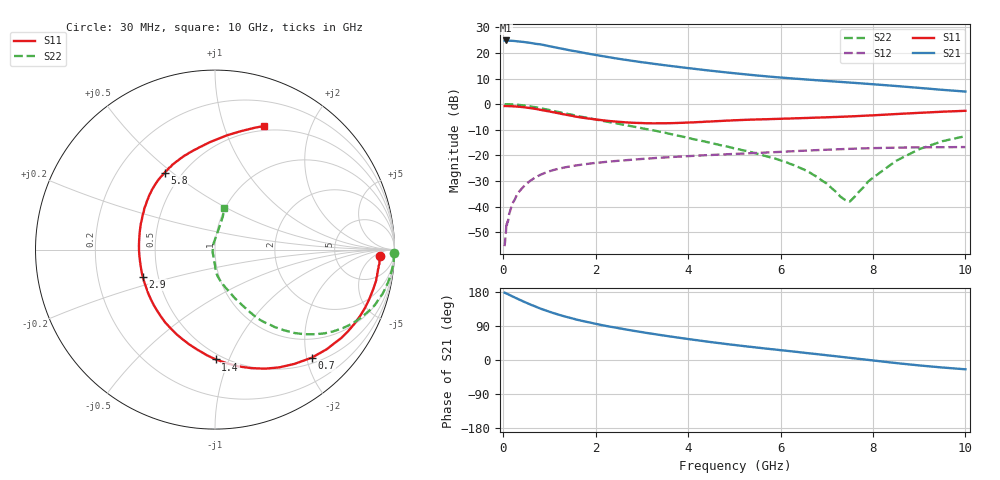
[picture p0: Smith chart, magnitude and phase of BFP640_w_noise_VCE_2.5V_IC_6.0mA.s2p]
! (c) 2013  Infineon Technologies AG, Munich
! Infineon Technologies  Discrete & RF Semiconductors
! BFP640
! VCE =  2.5 V,  IC =  6.0 mA
! Common Emitter S-Parameters:  Apr 2013
# GHz  S  MA  R  50
!  f  S11  S21  S12  S22
! GHz  MAG  ANG  MAG  ANG  MAG  ANG  MAG  ANG
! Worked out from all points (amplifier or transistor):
!   99 points, 30 MHz to 10 GHz, reference 50 ohm
!   highest |S21| = 24.8 dB at 50 MHz (marker M1)
!   |S21| within 3 dB of that: start of sweep to 1.206 GHz
!   unconditionally stable (mu >= 1): 4.676 GHz to end of sweep
!   at 350 MHz: K = 0.07, MSG = 29.2 dB, |S12| = -34.0 dB
!   at 3.5 GHz: K = 0.87, MSG = 18.0 dB, |S12| = -20.8 dB
!   at 10 GHz: K = 1.13, MAG = 8.6 dB, |S12| = -16.7 dB
!   lowest NFmin = 0.56 dB at 450 MHz
!   S11 on the Smith chart (normalised r, x): 30 MHz: 20, -9; 700 MHz: 0.60, -2.09; 1.4 GHz: 0.46, -0.90; 2.9 GHz: 0.41, -0.15; 5.8 GHz: 0.40, +0.47; 10 GHz: 0.45, +1.38
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0.03  0.9187 -2.1  17.32 177.6  0.0017 92.0  0.9975 -1.2
0.05  0.9198 -3.4  17.46 176.8  0.0027 108.1  0.9975 -2.2
0.07  0.9193 -5.0  17.34 175.5  0.005 88.5  0.9975 -3.0
0.2  0.9086 -14.2  17.15 167.9  0.0116 81.8  0.9877 -8.6
0.4  0.8795 -28.2  16.47 156.5  0.0225 75.6  0.9526 -16.9
0.6  0.8337 -41.8  15.59 145.8  0.0328 68.8  0.9 -24.7
0.7  0.8081 -48.2  15.01 141.0  0.0374 65.4  0.8693 -28.3
0.8  0.7755 -55.2  14.68 135.9  0.0417 62.1  0.8356 -31.6
0.9  0.7475 -61.4  14.1 131.5  0.0455 59.0  0.8005 -34.7
1.1  0.6902 -73.1  12.95 123.3  0.0523 53.8  0.7331 -40.0
1.4  0.6123 -89.6  11.42 112.7  0.06 47.4  0.6429 -46.3
1.7  0.5473 -105.2  10.19 103.5  0.0661 42.5  0.5657 -50.9
2.2  0.4789 -129.1  8.477 90.5  0.0745 36.2  0.4637 -57.4
2.9  0.4302 -159.3  6.777 75.5  0.0839 29.9  0.3543 -63.3
3.4  0.4232 -179.0  5.887 66.0  0.0901 26.1  0.2884 -68.1
4.1  0.4405 157.7  4.928 53.7  0.0979 21.1  0.209 -75.7
5.1  0.4881 134.5  3.924 38.2  0.1079 14.8  0.1314 -86.7
5.8  0.5117 123.3  3.422 28.6  0.115 10.8  0.0905 -89.7
6.7  0.5427 110.8  2.963 16.6  0.1258 5.0  0.0424 -101.6
7.5  0.5765 98.7  2.634 5.7  0.1345 -1.1  0.0126 165.0
8.5  0.6409 83.9  2.259 -8.1  0.1418 -9.3  0.0783 84.5
10  0.7417 68.3  1.759 -24.5  0.1456 -19.0  0.2378 77.3
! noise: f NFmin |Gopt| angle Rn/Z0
0.45  0.56  0.4  11  0.09
0.9  0.58  0.4  20  0.09
1.5  0.6  0.35  32  0.09
1.9  0.63  0.3  50  0.09
2.4  0.69  0.27  58  0.09
3.5  0.83  0.22  81  0.09
5.5  1.09  0.26  -150  0.11
10  1.75  0.61  -63  0.42
